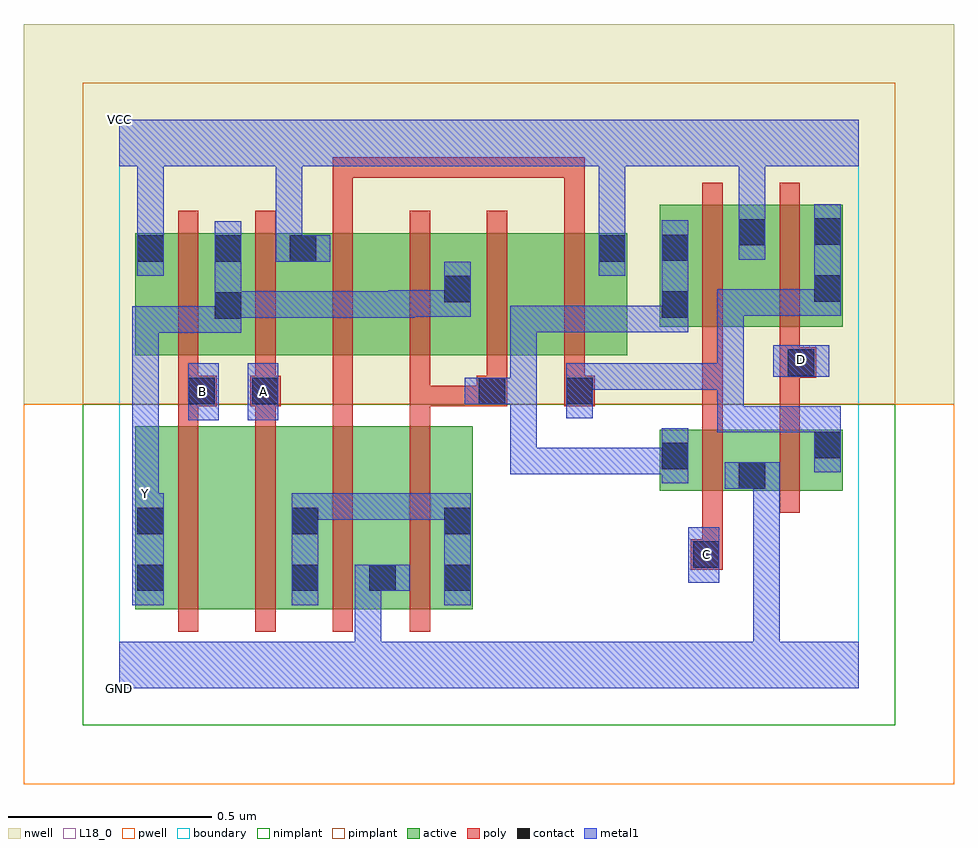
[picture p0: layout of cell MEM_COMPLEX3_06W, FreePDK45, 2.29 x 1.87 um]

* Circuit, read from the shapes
.subckt MEM_COMPLEX3_06W A B C D GND VCC Y
M1 n1 B Y VSUBS nfet w=0.45u l=0.05u
M2 n2 A n1 VSUBS nfet w=0.45u l=0.05u
M3 GND n3 n2 VSUBS nfet w=0.45u l=0.05u
M4 n2 n4 GND VSUBS nfet w=0.45u l=0.05u
M5 GND C n4 VSUBS nfet w=0.15u l=0.05u
M6 n3 D GND VSUBS nfet w=0.15u l=0.05u
M7 Y B VCC n5 pfet w=0.3u l=0.05u
M8 VCC A Y n5 pfet w=0.3u l=0.05u
M9 n6 n3 VCC n5 pfet w=0.3u l=0.05u
M10 Y n4 n6 n5 pfet w=0.3u l=0.05u
M11 n7 n4 Y n5 pfet w=0.3u l=0.05u
M12 VCC n3 n7 n5 pfet w=0.3u l=0.05u
M13 VCC C n4 n5 pfet w=0.3u l=0.05u
M14 n3 D VCC n5 pfet w=0.3u l=0.05u
.ends

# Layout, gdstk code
import gdstk
lib = gdstk.Library(unit=1e-6, precision=1e-09)
def R(c, l, rs):  # rectangles x0, y0, x1, y1
    for r in rs: c.add(gdstk.rectangle(r[:2], r[2:], *l))
def A(c, l, x, y, w, h, nx, ny, dx, dy):  # array of equal rectangles
    R(c, l, [(x+i*dx, y+j*dy, x+i*dx+w, y+j*dy+h) for i in range(nx) for j in range(ny)])
active = (1, 0)
pwell = (2, 0)
nwell = (3, 0)
nimplant = (4, 0)
pimplant = (5, 0)
poly = (9, 0)
contact = (10, 0)
metal1 = (11, 0)
L18_0 = (18, 0)
boundary = (235, 0)

mem_complex3_06w = lib.new_cell('MEM_COMPLEX3_06W')
R(mem_complex3_06w, active, [(0.04,0.195,0.265,0.645), (0.04,0.195,0.145,0.645), (0.265,0.195,0.495,0.645), (0.42,0.195,0.495,0.542), (0.42,0.195,0.685,0.645), (0.61,0.195,0.87,0.645), (0.61,0.195,0.685,0.542), (0.795,0.195,0.87,0.645), (1.33,0.487,1.595,0.637), (1.33,0.487,1.405,0.637), (1.52,0.487,1.78,0.637), (1.52,0.487,1.595,0.562), (1.705,0.495,1.78,0.637), (0.04,0.82,0.115,1.12), (0.04,0.82,0.305,1.12), (0.23,0.82,0.49,1.12), (0.23,0.82,0.305,1.12), (0.415,0.82,0.645,1.12), (0.645,0.82,0.87,1.12), (0.795,0.82,0.87,1.12), (0.795,0.82,1.025,1.12), (1.025,0.82,1.25,1.12), (1.175,0.82,1.25,1.12), (0.415,0.852,0.49,1.12), (1.33,0.89,1.595,1.19), (1.33,0.89,1.405,1.135), (1.52,0.89,1.78,1.19), (1.52,0.89,1.595,1.19), (1.705,0.89,1.78,1.162)])
R(mem_complex3_06w, pwell, [(-0.235,-0.235,2.055,0.7)])
R(mem_complex3_06w, nwell, [(-0.235,0.7,2.055,1.635)])
R(mem_complex3_06w, nimplant, [(-0.09,-0.09,1.91,0.7)])
R(mem_complex3_06w, pimplant, [(-0.09,0.7,1.91,1.49)])
A(mem_complex3_06w, poly, 0.145, 0.14, 0.05, 0.56, 4, 1, 0.19, 0)
A(mem_complex3_06w, poly, 0.145, 0.72, 0.05, 0.095, 3, 1, 0.19, 0)
A(mem_complex3_06w, poly, 0.145, 0.765, 0.05, 0.41, 6, 1, 0.19, 0)
R(mem_complex3_06w, poly, [(1.407,0.292,1.485,0.367), (1.435,0.317,1.485,0.482), (1.435,0.432,1.485,0.692), (1.625,0.432,1.675,0.692), (1.435,0.642,1.485,0.84), (1.625,0.642,1.675,0.815), (0.145,0.65,0.195,0.745), (0.335,0.65,0.385,0.745), (0.525,0.65,0.575,0.77), (0.715,0.65,0.765,0.745), (0.145,0.695,0.24,0.77), (0.322,0.695,0.397,0.77), (0.715,0.695,0.765,0.745), (0.715,0.695,0.765,0.745), (0.715,0.695,0.765,0.745), (0.715,0.695,0.93,0.745), (0.715,0.695,0.765,0.815), (0.88,0.695,0.955,0.77), (1.095,0.695,1.17,0.77), (0.525,0.72,0.575,0.77), (0.905,0.72,0.955,0.815), (1.095,0.72,1.145,0.815), (1.625,0.765,1.715,0.84), (1.435,0.79,1.485,0.885), (1.435,0.79,1.485,0.84), (1.625,0.79,1.675,0.885), (1.435,0.835,1.485,1.245), (1.625,0.835,1.675,1.245), (0.525,1.125,0.575,1.307), (1.095,1.125,1.145,1.307), (0.525,1.257,0.575,1.307), (0.525,1.257,0.575,1.307), (0.525,1.257,0.575,1.307), (0.525,1.257,0.797,1.307), (0.747,1.257,0.797,1.307), (0.747,1.257,0.797,1.307), (0.747,1.257,0.797,1.307), (0.747,1.257,1.012,1.307), (0.962,1.257,1.012,1.307), (0.962,1.257,1.012,1.307), (0.962,1.257,1.012,1.307), (0.962,1.257,1.145,1.307), (1.095,1.257,1.145,1.307)])
R(mem_complex3_06w, contact, [(0.045,0.24,0.11,0.305), (0.425,0.24,0.49,0.305), (0.615,0.24,0.68,0.305), (0.8,0.24,0.865,0.305), (1.412,0.297,1.477,0.362), (0.045,0.38,0.11,0.445), (0.425,0.38,0.49,0.445), (0.8,0.38,0.865,0.445), (1.525,0.492,1.59,0.557), (1.335,0.54,1.4,0.605), (1.71,0.567,1.775,0.632), (0.17,0.7,0.235,0.765), (0.327,0.7,0.392,0.765), (0.885,0.7,0.95,0.765), (1.1,0.7,1.165,0.765), (1.645,0.77,1.71,0.835), (0.235,0.91,0.3,0.975), (1.335,0.912,1.4,0.977), (0.8,0.95,0.865,1.015), (1.71,0.952,1.775,1.017), (0.045,1.05,0.11,1.115), (0.235,1.05,0.3,1.115), (0.42,1.05,0.485,1.115), (1.18,1.05,1.245,1.115), (1.335,1.052,1.4,1.117), (1.525,1.09,1.59,1.155), (1.71,1.092,1.775,1.157)])
R(mem_complex3_06w, metal1, [(0,0,1.82,0.115), (0.58,0.05,0.645,0.115), (0.58,0.05,0.645,0.115), (0.58,0.05,0.645,0.305), (1.56,0.05,1.625,0.115), (1.56,0.05,1.625,0.115), (1.56,0.05,1.625,0.115), (1.56,0.05,1.625,0.115), (1.56,0.05,1.625,0.557), (0.032,0.205,0.11,0.48), (0.425,0.205,0.49,0.48), (0.8,0.205,0.865,0.48), (0.58,0.24,0.715,0.305), (1.4,0.26,1.477,0.397), (0.032,0.412,0.097,0.547), (0.032,0.415,0.097,0.48), (0.425,0.415,0.49,0.48), (0.425,0.415,0.49,0.48), (0.425,0.415,0.657,0.48), (0.592,0.415,0.657,0.48), (0.592,0.415,0.657,0.48), (0.592,0.415,0.657,0.48), (0.592,0.415,0.865,0.48), (0.032,0.482,0.097,0.94), (1.49,0.492,1.625,0.557), (1.56,0.492,1.625,0.557), (1.56,0.492,1.625,0.557), (1.335,0.505,1.4,0.64), (0.962,0.527,1.027,0.592), (0.962,0.527,1.262,0.592), (0.962,0.527,1.027,0.765), (1.197,0.527,1.262,0.592), (1.197,0.527,1.262,0.592), (1.197,0.527,1.262,0.592), (1.197,0.527,1.4,0.592), (1.71,0.532,1.775,0.667), (1.71,0.602,1.775,0.667), (1.71,0.602,1.775,0.695), (1.472,0.63,1.537,0.695), (1.472,0.63,1.775,0.695), (1.472,0.63,1.537,0.8), (0.17,0.66,0.245,0.8), (0.317,0.66,0.392,0.8), (1.1,0.665,1.165,0.8), (0.85,0.7,0.985,0.765), (0.92,0.7,1.027,0.765), (0.962,0.7,1.027,0.765), (0.962,0.7,1.027,0.942), (1.1,0.735,1.165,0.8), (1.1,0.735,1.165,0.8), (1.1,0.735,1.4,0.8), (1.335,0.735,1.4,0.8), (1.335,0.735,1.487,0.8), (1.422,0.735,1.487,0.8), (1.422,0.735,1.537,0.8), (1.472,0.735,1.537,0.8), (1.472,0.735,1.537,0.982), (1.61,0.767,1.747,0.845), (0.032,0.875,0.097,0.94), (0.032,0.875,0.097,0.94), (0.032,0.875,0.097,0.94), (0.032,0.875,0.3,0.94), (0.235,0.875,0.3,1.15), (0.962,0.877,1.027,0.942), (0.962,0.877,1.165,0.942), (1.1,0.877,1.165,0.942), (1.1,0.877,1.165,0.942), (1.1,0.877,1.165,0.942), (1.1,0.877,1.4,0.942), (1.335,0.877,1.4,1.152), (0.235,0.912,0.3,0.977), (0.235,0.912,0.3,0.977), (0.235,0.912,0.507,0.977), (0.442,0.912,0.507,0.977), (0.442,0.912,0.507,0.977), (0.442,0.912,0.507,0.977), (0.442,0.912,0.727,0.977), (0.662,0.912,0.727,0.977), (0.662,0.912,0.727,0.977), (0.662,0.912,0.727,0.98), (0.662,0.915,0.865,0.98), (0.8,0.915,0.865,1.05), (1.472,0.917,1.537,0.982), (1.472,0.917,1.775,0.982), (1.71,0.917,1.775,0.982), (1.71,0.917,1.775,0.982), (1.71,0.917,1.775,1.192), (0.045,1.015,0.11,1.15), (1.18,1.015,1.245,1.15), (0.385,1.05,0.52,1.115), (0.385,1.05,0.45,1.35), (1.525,1.055,1.59,1.19), (0.045,1.085,0.11,1.15), (0.045,1.085,0.11,1.15), (0.045,1.085,0.11,1.35), (1.18,1.085,1.245,1.15), (1.18,1.085,1.245,1.15), (1.18,1.085,1.245,1.35), (1.525,1.125,1.59,1.19), (1.525,1.125,1.59,1.19), (1.525,1.125,1.59,1.35), (0,1.285,1.82,1.4), (0.385,1.285,0.45,1.35), (0.385,1.285,0.45,1.35)])
R(mem_complex3_06w, L18_0, [(0,0,1.82,0.115), (0.58,0.05,0.645,0.115), (0.58,0.05,0.645,0.115), (0.58,0.05,0.645,0.305), (1.56,0.05,1.625,0.115), (1.56,0.05,1.625,0.115), (1.56,0.05,1.625,0.115), (1.56,0.05,1.625,0.115), (1.56,0.05,1.625,0.557), (0.032,0.205,0.11,0.48), (0.58,0.24,0.715,0.305), (1.4,0.26,1.477,0.397), (1.412,0.297,1.477,0.362), (0.032,0.412,0.097,0.547), (0.032,0.415,0.097,0.48), (0.032,0.447,0.097,0.512), (0.032,0.482,0.097,0.94), (1.49,0.492,1.625,0.557), (1.56,0.492,1.625,0.557), (1.56,0.492,1.625,0.557), (0.17,0.66,0.245,0.8), (0.317,0.66,0.392,0.8), (0.172,0.697,0.237,0.762), (0.322,0.697,0.387,0.762), (1.61,0.767,1.747,0.845), (1.647,0.777,1.712,0.842), (0.032,0.875,0.097,0.94), (0.032,0.875,0.097,0.94), (0.032,0.875,0.097,0.94), (0.032,0.875,0.3,0.94), (0.235,0.875,0.3,1.15), (0.235,0.912,0.3,0.977), (0.235,0.912,0.3,0.977), (0.235,0.912,0.507,0.977), (0.442,0.912,0.507,0.977), (0.442,0.912,0.507,0.977), (0.442,0.912,0.507,0.977), (0.442,0.912,0.727,0.977), (0.662,0.912,0.727,0.977), (0.662,0.912,0.727,0.977), (0.662,0.912,0.727,0.98), (0.662,0.915,0.865,0.98), (0.8,0.915,0.865,1.05), (0.045,1.015,0.11,1.15), (1.18,1.015,1.245,1.15), (0.385,1.05,0.52,1.115), (0.385,1.05,0.45,1.35), (1.525,1.055,1.59,1.19), (0.045,1.085,0.11,1.15), (0.045,1.085,0.11,1.15), (0.045,1.085,0.11,1.35), (1.18,1.085,1.245,1.15), (1.18,1.085,1.245,1.15), (1.18,1.085,1.245,1.35), (1.525,1.125,1.59,1.19), (1.525,1.125,1.59,1.19), (1.525,1.125,1.59,1.35), (0,1.285,1.82,1.4), (0.385,1.285,0.45,1.35), (0.385,1.285,0.45,1.35)])
R(mem_complex3_06w, boundary, [(0,0,1.82,1.4)])
mem_complex3_06w.add(gdstk.Label('A', (0.355,0.73), layer=11, texttype=0))
mem_complex3_06w.add(gdstk.Label('B', (0.205,0.73), layer=11, texttype=0))
mem_complex3_06w.add(gdstk.Label('C', (1.445,0.33), layer=11, texttype=0))
mem_complex3_06w.add(gdstk.Label('D', (1.68,0.81), layer=11, texttype=0))
mem_complex3_06w.add(gdstk.Label('Y', (0.065,0.48), layer=11, texttype=0))
mem_complex3_06w.add(gdstk.Label('VCC', (0,1.4), layer=11, texttype=0))
mem_complex3_06w.add(gdstk.Label('GND', (0,0), layer=11, texttype=0))

lib.write_gds('MEM_COMPLEX3_06W.gds')
